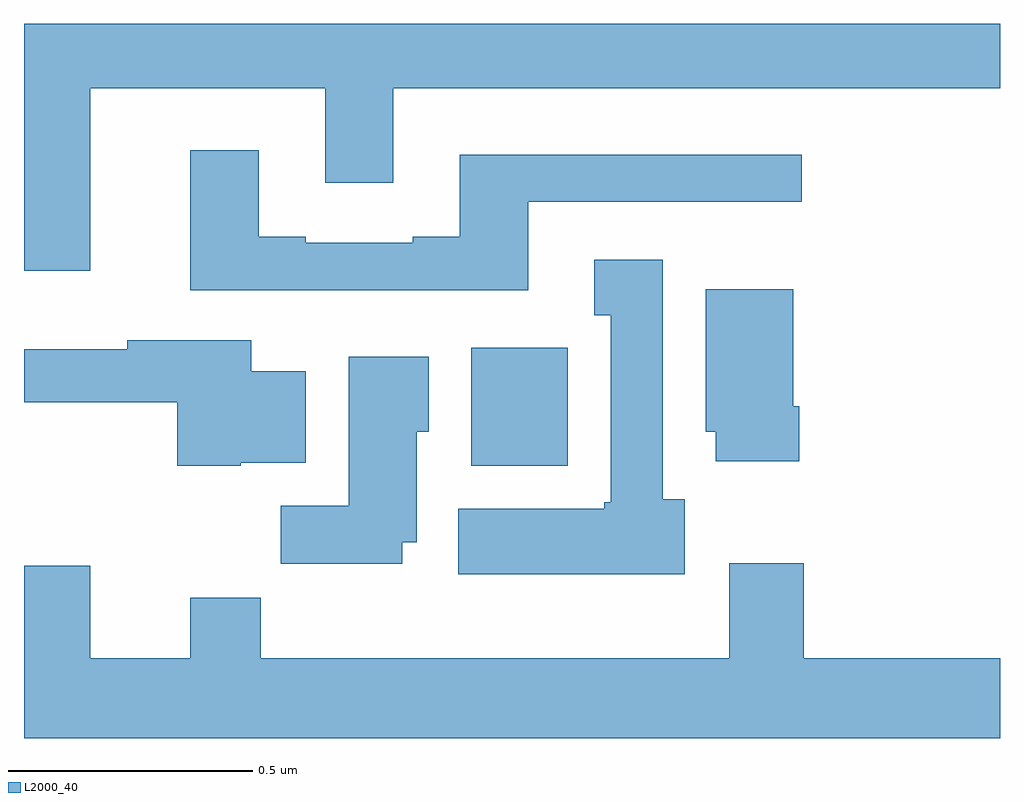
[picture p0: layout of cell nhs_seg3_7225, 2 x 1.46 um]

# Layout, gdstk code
import gdstk
lib = gdstk.Library(unit=1e-6, precision=1e-09)
def R(c, l, rs):  # rectangles x0, y0, x1, y1
    for r in rs: c.add(gdstk.rectangle(r[:2], r[2:], *l))
def P(c, l, *ps):  # polygons
    for p in ps: c.add(gdstk.Polygon(p, *l))
L2000_40 = (2000, 40)

nhs_seg3_7225 = lib.new_cell('nhs_seg3_7225')
R(nhs_seg3_7225, L2000_40, [(201.917,681.494,202.114,681.736)])
P(nhs_seg3_7225, L2000_40, [(201.136,682.268),(201.617,682.268),(201.617,682.074),(201.757,682.074),(201.757,682.268),(203,682.268),(203,682.4),(201,682.4),(201,681.894),(201.136,681.894)],
  [(202.033,682.035),(202.594,682.035),(202.594,682.132),(201.893,682.132),(201.893,681.964),(201.797,681.964),(201.797,681.951),(201.577,681.951),(201.577,681.964),(201.481,681.964),(201.481,682.141),(201.341,682.141),(201.341,681.854),(202.033,681.854)],
  [(202.354,681.426),(202.309,681.426),(202.309,681.916),(202.169,681.916),(202.169,681.803),(202.202,681.803),(202.202,681.42),(202.189,681.42),(202.189,681.406),(201.89,681.406),(201.89,681.272),(202.354,681.272)],
  [(202.589,681.616),(202.576,681.616),(202.576,681.856),(202.397,681.856),(202.397,681.564),(202.418,681.564),(202.418,681.504),(202.589,681.504)],
  [(201.444,681.5),(201.577,681.5),(201.577,681.688),(201.466,681.688),(201.466,681.752),(201.212,681.752),(201.212,681.733),(201,681.733),(201,681.624),(201.314,681.624),(201.314,681.494),(201.444,681.494)],
  [(201.775,681.338),(201.805,681.338),(201.805,681.564),(201.829,681.564),(201.829,681.718),(201.665,681.718),(201.665,681.412),(201.526,681.412),(201.526,681.294),(201.775,681.294)],
  [(203,681.1),(202.598,681.1),(202.598,681.295),(202.445,681.295),(202.445,681.1),(201.485,681.1),(201.485,681.224),(201.341,681.224),(201.341,681.1),(201.136,681.1),(201.136,681.289),(201,681.289),(201,680.936),(203,680.936)])

lib.write_gds('nhs_seg3_7225.gds')
